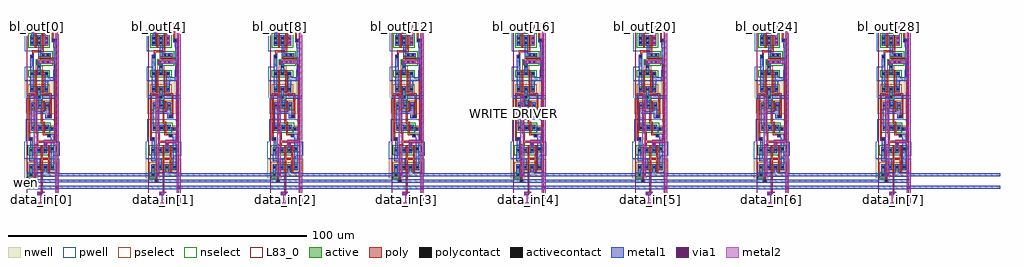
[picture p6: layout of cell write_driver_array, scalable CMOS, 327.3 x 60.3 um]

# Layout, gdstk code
import gdstk
lib = gdstk.Library(unit=1e-6, precision=1e-09)
def R(c, l, rs):  # rectangles x0, y0, x1, y1
    for r in rs: c.add(gdstk.rectangle(r[:2], r[2:], *l))
def A(c, l, x, y, w, h, nx, ny, dx, dy):  # array of equal rectangles
    R(c, l, [(x+i*dx, y+j*dy, x+i*dx+w, y+j*dy+h) for i in range(nx) for j in range(ny)])
pwell = (41, 0)
nwell = (42, 0)
active = (43, 0)
pselect = (44, 0)
nselect = (45, 0)
poly = (46, 0)
polycontact = (47, 0)
activecontact = (48, 0)
metal1 = (49, 0)
via1 = (50, 0)
metal2 = (51, 0)
L83_0 = (83, 0)

write_driver = lib.new_cell('write_driver')
R(write_driver, pwell, [(-0.9,15,8.7,15.9), (-0.9,15.9,11.1,20.7), (-0.3,20.7,9.6,23.4), (-0.3,23.4,9.9,26.4), (-0.3,26.4,9.6,27.3), (-0.3,27.3,9.3,28.2), (-0.6,41.1,9,45), (-0.6,45,9.9,45.9), (1.8,45.9,9.9,51), (-0.6,51,9.9,52.2), (-0.6,52.2,9,58.2)])
R(write_driver, nwell, [(0,8.1,3,8.4), (-0.9,8.4,3.9,9.3), (-0.9,9.3,11.1,15), (-0.3,30,9.3,35.4), (-0.6,35.4,9.3,35.7), (-0.6,35.7,9,41.1)])
R(write_driver, active, [(0.9,9,2.1,11.1), (0.9,11.1,9.3,13.2), (0.9,16.8,6.9,17.7), (0.9,17.7,9.3,18.9), (1.5,24.3,9,25.5), (1.5,25.5,7.5,26.4), (1.5,31.8,7.5,33.9), (3.6,35.1,4.8,37.2), (1.2,37.2,7.2,39.3), (1.2,42.9,7.2,44.1), (3.6,45.3,4.8,46.8), (3.6,46.8,8.1,47.7), (4.5,47.7,8.1,50.4), (1.2,52.8,7.2,56.4)])
R(write_driver, pselect, [(0.3,10.2,2.7,10.5), (0.3,10.5,9.9,13.8), (7.8,23.7,9.6,25.5), (8.1,25.5,9.6,26.1), (0.9,31.2,8.1,34.5), (3,36.3,5.4,36.6), (0.6,36.6,7.8,39.9), (3,44.7,5.4,46.2), (3,46.2,4.8,46.5)])
R(write_driver, nselect, [(0.3,8.4,2.7,10.2), (0.3,16.2,7.5,17.1), (0.3,17.1,9.9,19.5), (0.9,23.7,7.8,25.5), (0.9,25.5,8.1,27), (3,34.5,5.4,36.3), (0.6,42.3,7.8,44.7), (4.8,46.2,8.7,46.5), (3,46.5,8.7,48.3), (3.9,48.3,8.7,51), (0.6,52.2,7.8,57)])
R(write_driver, poly, [(4.8,2.7,6,3.9), (4.8,3.9,5.4,14.7), (2.1,6.9,3.3,8.1), (2.4,8.1,3,19.2), (7.2,10.5,7.8,14.7), (4.8,14.7,7.8,15.3), (4.8,15.3,5.4,19.5), (7.2,15.3,7.8,19.5), (2.4,19.2,3.9,19.8), (3.3,19.8,3.9,20.4), (3.3,20.4,9.9,21), (0.6,21,2.1,22.2), (3.3,21,3.9,23.4), (9.3,21,9.9,48.3), (0.6,22.2,1.2,36.3), (6.9,22.2,8.1,22.8), (5.4,22.8,8.1,23.4), (3,23.4,3.9,24), (5.4,23.4,6,26.7), (3,24,3.6,34.5), (4.8,26.7,6,27.3), (4.8,27.3,5.4,30.9), (6.9,28.5,8.4,29.7), (7.8,29.7,8.4,36.3), (4.8,30.9,6,31.5), (5.4,31.5,6,34.5), (0.6,36.3,3.3,36.9), (5.1,36.3,8.4,36.9), (2.7,36.9,3.3,44.7), (5.1,36.9,5.7,44.7), (3.9,48.3,9.9,48.9), (1.2,48.6,2.4,49.8), (1.8,49.8,2.4,50.7), (1.8,50.7,5.7,51.3), (5.1,51.3,5.7,57), (2.7,52.2,3.3,57.9), (8.4,54,9.6,55.2), (8.4,55.2,9,57.9), (2.7,57.9,9,58.5)])
R(write_driver, polycontact, [(5.1,3,5.7,3.6), (2.4,7.2,3,7.8), (1.2,21.3,1.8,21.9), (7.2,22.5,7.8,23.1), (7.2,28.8,7.8,29.4), (1.5,48.9,2.1,49.5), (8.7,54.3,9.3,54.9)])
A(write_driver, activecontact, 1.2, 11.85, 0.6, 0.6, 4, 1, 2.4, 0)
A(write_driver, activecontact, 1.2, 17.55, 0.6, 0.6, 3, 1, 2.4, 0)
A(write_driver, activecontact, 1.8, 25.05, 0.6, 0.6, 3, 2, 2.4, 7.5)
A(write_driver, activecontact, 1.5, 37.95, 0.6, 0.6, 3, 2, 2.4, 5.25)
A(write_driver, activecontact, 1.5, 53.55, 0.6, 0.6, 3, 2, 2.4, 1.5)
R(write_driver, activecontact, [(1.2,9.3,1.8,9.9), (8.4,18,9,18.6), (8.1,24.6,8.7,25.2), (3.9,35.4,4.5,36), (3.9,45.6,4.5,46.2), (5.25,47.1,5.85,47.7), (6.75,47.1,7.35,47.7), (5.25,49.5,5.85,50.1), (6.75,49.5,7.35,50.1)])
A(write_driver, metal1, 0, 4.8, 10.8, 1.2, 1, 3, 0, 2.1)
R(write_driver, metal1, [(3.6,2.7,6,3.9), (0.9,10.2,2.1,13.2), (5.7,10.2,6.9,13.2), (3.3,11.1,4.5,14.1), (8.1,11.1,9.3,22.2), (0.9,14.1,4.5,15), (0.9,15,2.1,18.9), (3.3,16.8,4.5,18.9), (5.7,16.8,6.9,20.1), (1.2,18.9,2.1,21), (0.9,21,2.1,22.2), (6.9,22.2,9.3,23.4), (1.5,24.3,2.7,30), (3.9,24.3,5.1,26.4), (6.3,24.3,10.2,25.5), (6.3,25.5,7.5,26.4), (6.3,28.5,8.1,29.7), (6.3,29.7,7.5,30), (1.5,30,7.5,30.9), (1.5,30.9,2.7,33.9), (6.3,30.9,7.5,33.9), (3.9,31.8,5.1,35.1), (0,35.1,10.8,36.3), (3.6,36.3,4.8,39.3), (1.2,37.2,2.4,49.8), (6,37.2,7.2,41.1), (6,41.1,9.9,42.3), (6,42.3,7.2,44.1), (9,42.3,9.9,54), (3.6,42.9,4.8,46.8), (3.3,46.8,8.1,48), (3.9,49.2,8.1,50.4), (3.9,50.4,4.8,52.8), (1.2,52.8,2.4,56.4), (3.6,52.8,4.8,56.4), (6,52.8,7.2,57.6), (8.4,54,9.9,55.2), (1.5,56.4,2.4,57), (1.5,57,2.7,58.2)])
R(write_driver, via1, [(3.9,3,4.5,3.6), (9.9,5.1,10.5,5.7), (2.7,9.3,3.3,9.9), (6,19.2,6.6,19.8), (9.3,24.6,9.9,25.2), (2.7,35.4,3.3,36), (3.6,47.1,4.2,47.7), (6.3,56.7,6.9,57.3), (1.8,57.3,2.4,57.9)])
R(write_driver, metal2, [(4.5,0,5.7,2.7), (9.6,0,10.8,20.1), (3.6,2.7,6,3.9), (2.4,9,3.6,36.3), (5.7,18.9,6.9,20.1), (5.7,20.1,10.8,21.3), (9.6,21.3,10.8,24.3), (9,24.3,10.8,25.5), (9.6,25.5,10.8,46.8), (3.3,46.8,10.8,48), (9.6,48,10.8,58.5), (6,52.8,7.2,60.3), (1.5,57,4.2,58.2), (3,58.2,4.2,60.3)])
R(write_driver, L83_0, [(0,0,10.2,60.3)])
write_driver.add(gdstk.Label('BR', (6,60.3), layer=51, texttype=0))
write_driver.add(gdstk.Label('BL', (3,60.3), layer=51, texttype=0))
write_driver.add(gdstk.Label('vdd', (0,9), layer=49, texttype=0))
write_driver.add(gdstk.Label('en', (0,6.9), layer=49, texttype=0))
write_driver.add(gdstk.Label('gnd', (0,4.8), layer=49, texttype=0))
write_driver.add(gdstk.Label('din', (4.5,0), layer=51, texttype=0))

write_driver_array = lib.new_cell('write_driver_array')
R(write_driver_array, metal1, [(0,4.95,326.4,5.85), (0,7.05,295.8,7.95), (0,9.15,326.4,10.05)])
write_driver_array.add(gdstk.Reference(write_driver, (0,0)))
write_driver_array.add(gdstk.Reference(write_driver, (40.8,0)))
write_driver_array.add(gdstk.Reference(write_driver, (81.6,0)))
write_driver_array.add(gdstk.Reference(write_driver, (122.4,0)))
write_driver_array.add(gdstk.Reference(write_driver, (163.2,0)))
write_driver_array.add(gdstk.Reference(write_driver, (204,0)))
write_driver_array.add(gdstk.Reference(write_driver, (244.8,0)))
write_driver_array.add(gdstk.Reference(write_driver, (285.6,0)))
write_driver_array.add(gdstk.Label('data_in[0]', (5.1,1.35), layer=51, texttype=0))
write_driver_array.add(gdstk.Label('bl_out[0]', (3.6,59.25), layer=51, texttype=0))
write_driver_array.add(gdstk.Label('br_out[0]', (6.6,56.55), layer=51, texttype=0))
write_driver_array.add(gdstk.Label('data_in[1]', (45.9,1.35), layer=51, texttype=0))
write_driver_array.add(gdstk.Label('bl_out[4]', (44.4,59.25), layer=51, texttype=0))
write_driver_array.add(gdstk.Label('br_out[4]', (47.4,56.55), layer=51, texttype=0))
write_driver_array.add(gdstk.Label('data_in[2]', (86.7,1.35), layer=51, texttype=0))
write_driver_array.add(gdstk.Label('bl_out[8]', (85.2,59.25), layer=51, texttype=0))
write_driver_array.add(gdstk.Label('br_out[8]', (88.2,56.55), layer=51, texttype=0))
write_driver_array.add(gdstk.Label('data_in[3]', (127.5,1.35), layer=51, texttype=0))
write_driver_array.add(gdstk.Label('bl_out[12]', (126,59.25), layer=51, texttype=0))
write_driver_array.add(gdstk.Label('br_out[12]', (129,56.55), layer=51, texttype=0))
write_driver_array.add(gdstk.Label('data_in[4]', (168.3,1.35), layer=51, texttype=0))
write_driver_array.add(gdstk.Label('bl_out[16]', (166.8,59.25), layer=51, texttype=0))
write_driver_array.add(gdstk.Label('br_out[16]', (169.8,56.55), layer=51, texttype=0))
write_driver_array.add(gdstk.Label('data_in[5]', (209.1,1.35), layer=51, texttype=0))
write_driver_array.add(gdstk.Label('bl_out[20]', (207.6,59.25), layer=51, texttype=0))
write_driver_array.add(gdstk.Label('br_out[20]', (210.6,56.55), layer=51, texttype=0))
write_driver_array.add(gdstk.Label('data_in[6]', (249.9,1.35), layer=51, texttype=0))
write_driver_array.add(gdstk.Label('bl_out[24]', (248.4,59.25), layer=51, texttype=0))
write_driver_array.add(gdstk.Label('br_out[24]', (251.4,56.55), layer=51, texttype=0))
write_driver_array.add(gdstk.Label('data_in[7]', (290.7,1.35), layer=51, texttype=0))
write_driver_array.add(gdstk.Label('bl_out[28]', (289.2,59.25), layer=51, texttype=0))
write_driver_array.add(gdstk.Label('br_out[28]', (292.2,56.55), layer=51, texttype=0))
write_driver_array.add(gdstk.Label('wen', (0,7.05), layer=49, texttype=0))
write_driver_array.add(gdstk.Label('vdd', (0,9.15), layer=49, texttype=0))
write_driver_array.add(gdstk.Label('gnd', (0,4.95), layer=49, texttype=0))
write_driver_array.add(gdstk.Label('WRITE DRIVER', (163.2,30.15), layer=83, texttype=0))

lib.write_gds('write_driver_array.gds')
